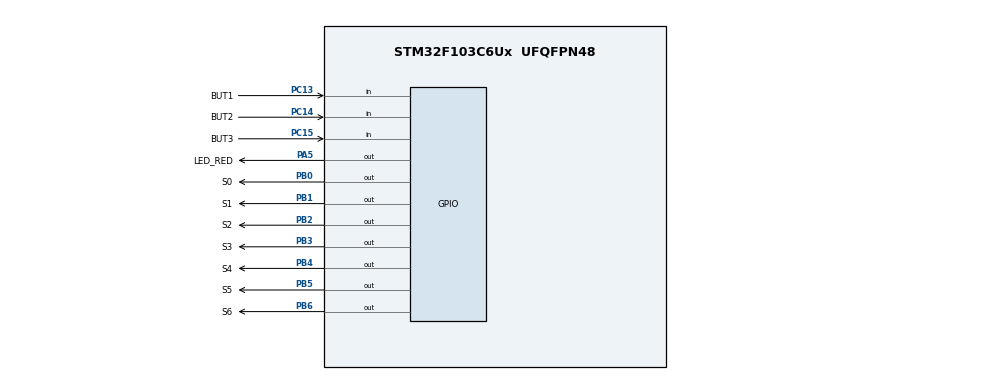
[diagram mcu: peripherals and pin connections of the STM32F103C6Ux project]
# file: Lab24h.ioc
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Mcu.Family=STM32F1
Mcu.Name=STM32F103C6Ux
Mcu.Package=UFQFPN48
NVIC.PriorityGroup=NVIC_PRIORITYGROUP_4
NVIC.TIM2_IRQn=true\:0\:0\:false\:false\:true\:true\:true
PA5.GPIO_Label=LED_RED
PA5.Signal=GPIO_Output
PB0.GPIO_Label=S0
PB0.Signal=GPIO_Output
PB1.GPIO_Label=S1
PB1.Signal=GPIO_Output
PB2.GPIO_Label=S2
PB2.Signal=GPIO_Output
PB3.GPIO_Label=S3
PB3.Signal=GPIO_Output
PB4.GPIO_Label=S4
PB4.Signal=GPIO_Output
PB5.GPIO_Label=S5
PB5.Signal=GPIO_Output
PB6.GPIO_Label=S6
PB6.Signal=GPIO_Output
PC13-TAMPER-RTC.GPIO_Label=BUT1
PC13-TAMPER-RTC.GPIO_PuPd=GPIO_PULLUP
PC13-TAMPER-RTC.Signal=GPIO_Input
PC14-OSC32_IN.GPIO_Label=BUT2
PC14-OSC32_IN.GPIO_PuPd=GPIO_PULLUP
PC14-OSC32_IN.Signal=GPIO_Input
PC15-OSC32_OUT.GPIO_Label=BUT3
PC15-OSC32_OUT.GPIO_PuPd=GPIO_PULLUP
PC15-OSC32_OUT.Signal=GPIO_Input
ProjectManager.HeapSize=0x200
ProjectManager.StackSize=0x400
ProjectManager.TargetToolchain=STM32CubeIDE
RCC.APB1Freq_Value=8000000
RCC.APB2Freq_Value=8000000
TIM2.Period=9
TIM2.Prescaler=7999
VP_SYS_VS_ND.Mode=No_Debug
VP_TIM2_VS_ClockSourceINT.Mode=Internal
board=custom

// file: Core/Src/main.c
/* USER CODE BEGIN Header */
/**
  ******************************************************************************
  * @file           : main.c
  * @brief          : Main program body
  ******************************************************************************
  * @attention
  *
  * <h2><center>&copy; Copyright (c) 2022 STMicroelectronics.
  * All rights reserved.</center></h2>
  *
  * This software component is licensed by ST under BSD 3-Clause license,
  * the "License"; You may not use this file except in compliance with the
  * License. You may obtain a copy of the License at:
  *                        opensource.org/licenses/BSD-3-Clause
  *
  ******************************************************************************
  */
/* USER CODE END Header */
#include "main.h"

/* USER CODE BEGIN Includes */
#include "global.h"
#include "FSM.h"
#include "button.h"
/* USER CODE END Includes */

TIM_HandleTypeDef htim2;

void SystemClock_Config(void);
static void MX_GPIO_Init(void);
static void MX_TIM2_Init(void);

int main(void)
{

  /* MCU Configuration--------------------------------------------------------*/

  /* Reset of all peripherals, Initializes the Flash interface and the Systick. */
  HAL_Init();

  /* Configure the system clock */
  SystemClock_Config();

  /* Initialize all configured peripherals */
  MX_GPIO_Init();
  MX_TIM2_Init();
  /* USER CODE BEGIN 2 */
  HAL_TIM_Base_Start_IT(&htim2);
  /* USER CODE END 2 */

  /* Infinite loop */
  /* USER CODE BEGIN WHILE */
  setTimer1(1000);	// for LED Blinky //
  setTimer2(10);	// for FSM machine //
  setTimer3(10000); // for step 3 //
  status = NORMAL;
  while (1)
  {
	  FSM_run();
	  if (timer1flag == 1) {
		  HAL_GPIO_TogglePin(LED_RED_GPIO_Port, LED_RED_Pin);
		  setTimer1(1000);
	  }
    /* USER CODE END WHILE */

  }
}

void SystemClock_Config(void)
{
  RCC_OscInitTypeDef RCC_OscInitStruct = {0};
  RCC_ClkInitTypeDef RCC_ClkInitStruct = {0};

  /** Initializes the RCC Oscillators according to the specified parameters
  * in the RCC_OscInitTypeDef structure.
  */
  RCC_OscInitStruct.OscillatorType = RCC_OSCILLATORTYPE_HSI;
  RCC_OscInitStruct.HSIState = RCC_HSI_ON;
  RCC_OscInitStruct.HSICalibrationValue = RCC_HSICALIBRATION_DEFAULT;
  RCC_OscInitStruct.PLL.PLLState = RCC_PLL_NONE;
  if (HAL_RCC_OscConfig(&RCC_OscInitStruct) != HAL_OK)
  {
    Error_Handler();
  }
  /** Initializes the CPU, AHB and APB buses clocks
  */
  RCC_ClkInitStruct.ClockType = RCC_CLOCKTYPE_HCLK|RCC_CLOCKTYPE_SYSCLK
                              |RCC_CLOCKTYPE_PCLK1|RCC_CLOCKTYPE_PCLK2;
  RCC_ClkInitStruct.SYSCLKSource = RCC_SYSCLKSOURCE_HSI;
  RCC_ClkInitStruct.AHBCLKDivider = RCC_SYSCLK_DIV1;
  RCC_ClkInitStruct.APB1CLKDivider = RCC_HCLK_DIV1;
  RCC_ClkInitStruct.APB2CLKDivider = RCC_HCLK_DIV1;

  if (HAL_RCC_ClockConfig(&RCC_ClkInitStruct, FLASH_LATENCY_0) != HAL_OK)
  {
    Error_Handler();
  }
}

static void MX_TIM2_Init(void)
{

  TIM_ClockConfigTypeDef sClockSourceConfig = {0};
  TIM_MasterConfigTypeDef sMasterConfig = {0};

  htim2.Instance = TIM2;
  htim2.Init.Prescaler = 7999;
  htim2.Init.CounterMode = TIM_COUNTERMODE_UP;
  htim2.Init.Period = 9;
  htim2.Init.ClockDivision = TIM_CLOCKDIVISION_DIV1;
  htim2.Init.AutoReloadPreload = TIM_AUTORELOAD_PRELOAD_DISABLE;
  if (HAL_TIM_Base_Init(&htim2) != HAL_OK)
  {
    Error_Handler();
  }
  sClockSourceConfig.ClockSource = TIM_CLOCKSOURCE_INTERNAL;
  if (HAL_TIM_ConfigClockSource(&htim2, &sClockSourceConfig) != HAL_OK)
  {
    Error_Handler();
  }
  sMasterConfig.MasterOutputTrigger = TIM_TRGO_RESET;
  sMasterConfig.MasterSlaveMode = TIM_MASTERSLAVEMODE_DISABLE;
  if (HAL_TIMEx_MasterConfigSynchronization(&htim2, &sMasterConfig) != HAL_OK)
  {
    Error_Handler();
  }

}

static void MX_GPIO_Init(void)
{
  GPIO_InitTypeDef GPIO_InitStruct = {0};

  /* GPIO Ports Clock Enable */
  __HAL_RCC_GPIOC_CLK_ENABLE();
  __HAL_RCC_GPIOA_CLK_ENABLE();
  __HAL_RCC_GPIOB_CLK_ENABLE();

  /*Configure GPIO pin Output Level */
  HAL_GPIO_WritePin(LED_RED_GPIO_Port, LED_RED_Pin, GPIO_PIN_RESET);

  /*Configure GPIO pin Output Level */
  HAL_GPIO_WritePin(GPIOB, S0_Pin|S1_Pin|S2_Pin|S3_Pin
                          |S4_Pin|S5_Pin|S6_Pin, GPIO_PIN_RESET);

  /*Configure GPIO pins : BUT1_Pin BUT2_Pin BUT3_Pin */
  GPIO_InitStruct.Pin = BUT1_Pin|BUT2_Pin|BUT3_Pin;
  GPIO_InitStruct.Mode = GPIO_MODE_INPUT;
  GPIO_InitStruct.Pull = GPIO_PULLUP;
  HAL_GPIO_Init(GPIOC, &GPIO_InitStruct);

  /*Configure GPIO pin : LED_RED_Pin */
  GPIO_InitStruct.Pin = LED_RED_Pin;
  GPIO_InitStruct.Mode = GPIO_MODE_OUTPUT_PP;
  GPIO_InitStruct.Pull = GPIO_NOPULL;
  GPIO_InitStruct.Speed = GPIO_SPEED_FREQ_LOW;
  HAL_GPIO_Init(LED_RED_GPIO_Port, &GPIO_InitStruct);

  /*Configure GPIO pins : S0_Pin S1_Pin S2_Pin S3_Pin
                           S4_Pin S5_Pin S6_Pin */
  GPIO_InitStruct.Pin = S0_Pin|S1_Pin|S2_Pin|S3_Pin
                          |S4_Pin|S5_Pin|S6_Pin;
  GPIO_InitStruct.Mode = GPIO_MODE_OUTPUT_PP;
  GPIO_InitStruct.Pull = GPIO_NOPULL;
  GPIO_InitStruct.Speed = GPIO_SPEED_FREQ_LOW;
  HAL_GPIO_Init(GPIOB, &GPIO_InitStruct);

}

/* USER CODE BEGIN 4 */
void HAL_TIM_PeriodElapsedCallback(TIM_HandleTypeDef *htim) {
	getKey1Input();
	getKey2Input();
	getKey3Input();
	timer1Run();
	timer2Run();
	timer3Run();
}
/* USER CODE END 4 */

void Error_Handler(void)
{
  __disable_irq();
  while (1)
  {
  }
}

/************************ (C) COPYRIGHT STMicroelectronics *****END OF FILE****/
